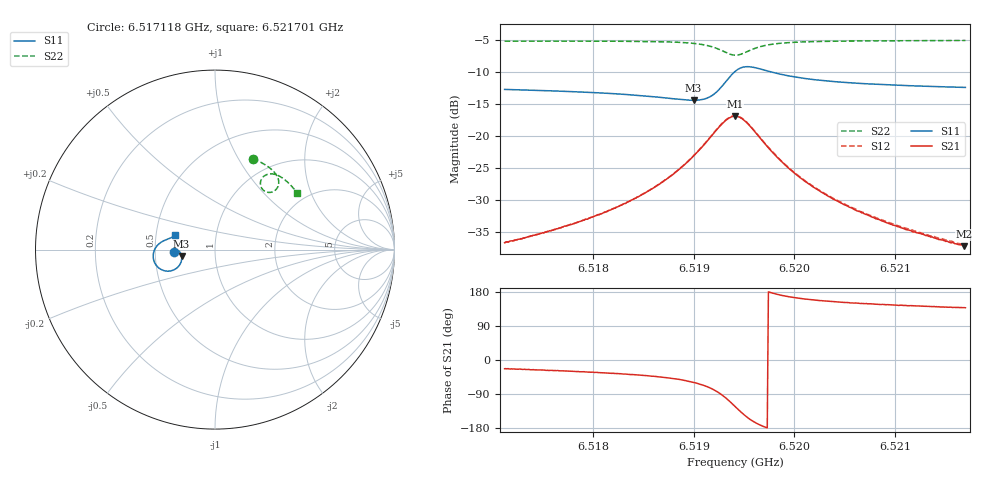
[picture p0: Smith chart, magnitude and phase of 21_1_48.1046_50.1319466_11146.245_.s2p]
#  HZ  S  RI  R  50.00
! Rohde & Schwarz Vector Network Analyzer
! Rohde-Schwarz,ZNB20-2Port,1311601062101988,3.16
! Created: UTC 12/23/2023, 3:36:39 AM
! freq[Hz]  re:S11  im:S11  re:S21  im:S21  re:S12  im:S12  re:S22  im:S22
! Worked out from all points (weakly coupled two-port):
!   401 points, 6.517118 GHz to 6.521701 GHz, reference 50 ohm
!   highest |S21| = -16.94 dB at 6.51941 GHz (marker M1); lowest = -37.2 dB at 6.52169 GHz (marker M2)
!   lowest |S11| = -14.4 dB at 6.518997 GHz (marker M3), VSWR 1.47, Z = 34.2 - j2.49 ohm
!   |S11| at or under -10 dB: start of sweep to 6.519406 GHz; 6.519766 GHz to end of sweep
!   |S22| runs from -7.4 to -5.1 dB; largest |S21 - S12| = 0.0043
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6.5171181e9  -0.23 -0.0147  0.0134 -0.00572  0.0135 -0.0053  0.2125 0.5061
6.5175077e9  -0.2254 -0.00916  0.0156 -0.00782  0.0159 -0.00725  0.241 0.4934
6.5178859e9  -0.2198 -0.00498  0.0186 -0.0112  0.0189 -0.0106  0.2691 0.4786
6.5182984e9  -0.2111 -0.00352  0.0233 -0.0176  0.024 -0.0169  0.3001 0.4583
6.5186536e9  -0.2001 -0.00884  0.0297 -0.0291  0.0309 -0.0285  0.3278 0.4343
6.5188484e9  -0.192 -0.019  0.0341 -0.0422  0.0354 -0.0414  0.3429 0.4145
6.5189973e9  -0.1863 -0.0351  0.0358 -0.0596  0.0378 -0.0588  0.3526 0.3928
6.5191004e9  -0.1858 -0.0545  0.033 -0.0783  0.0356 -0.0779  0.3551 0.3718
6.5191921e9  -0.1936 -0.0794  0.0222 -0.1011  0.0253 -0.1011  0.3494 0.3484
6.5193181e9  -0.2381 -0.1163  -0.0231 -0.1301  -0.0196 -0.1317  0.3144 0.3197
6.5194098e9  -0.2978 -0.112  -0.0764 -0.12  -0.0735 -0.1232  0.273 0.3281
6.5194556e9  -0.3233 -0.0926  -0.097 -0.1003  -0.0949 -0.1036  0.2586 0.345
6.5195129e9  -0.3411 -0.0602  -0.1092 -0.07  -0.1081 -0.0735  0.253 0.3703
6.5196046e9  -0.3413 -0.0131  -0.1041 -0.0297  -0.1042 -0.0328  0.2653 0.4018
6.5197077e9  -0.3248 0.0189  -0.0865 -0.00452  -0.0871 -0.00714  0.2886 0.418
6.5199369e9  -0.291 0.0466  -0.0552 0.0122  -0.0561 0.0109  0.3304 0.4199
6.5201775e9  -0.2702 0.0558  -0.0376 0.0144  -0.0385 0.0137  0.3593 0.4089
6.5205327e9  -0.2528 0.0627  -0.0248 0.0134  -0.0254 0.0129  0.3894 0.3887
6.5209452e9  -0.2404 0.0686  -0.017 0.0116  -0.0177 0.0114  0.4165 0.3641
6.521415e9  -0.2305 0.075  -0.0122 0.00989  -0.0126 0.00982  0.4423 0.3356
6.52169e9  -0.2257 0.0786  -0.0102 0.00915  -0.0108 0.00922  0.456 0.3184
6.5217015e9  -0.2256 0.0788  -0.0102 0.00927  -0.0106 0.00919  0.4564 0.3176
